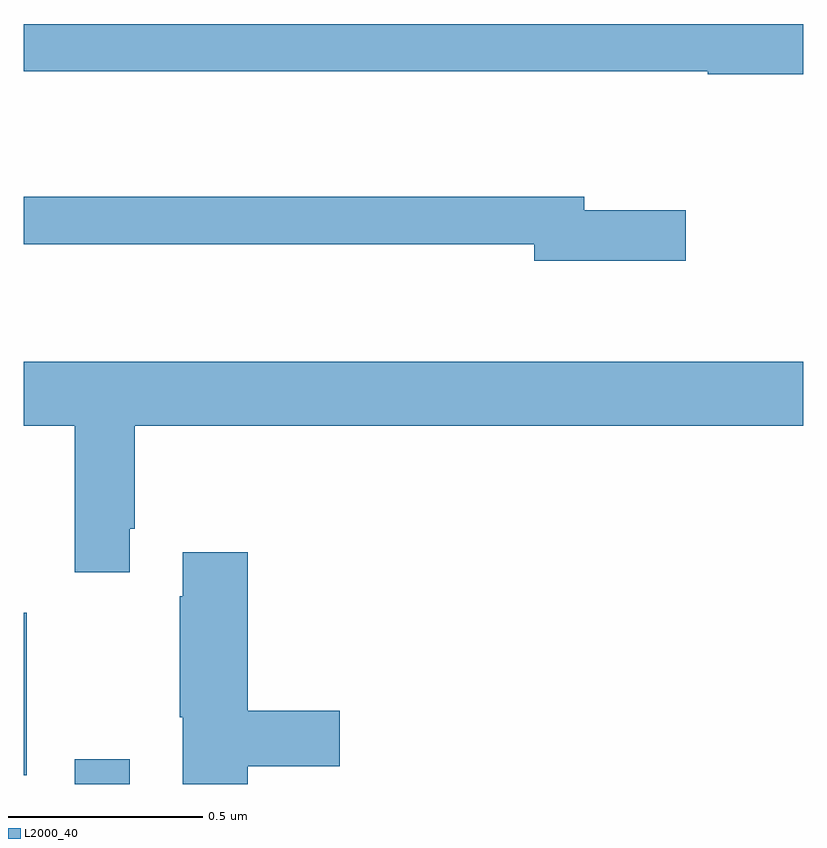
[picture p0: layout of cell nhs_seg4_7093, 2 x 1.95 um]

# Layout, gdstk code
import gdstk
lib = gdstk.Library(unit=1e-6, precision=1e-09)
def R(c, l, rs):  # rectangles x0, y0, x1, y1
    for r in rs: c.add(gdstk.rectangle(r[:2], r[2:], *l))
def P(c, l, *ps):  # polygons
    for p in ps: c.add(gdstk.Polygon(p, *l))
L2000_40 = (2000, 40)

nhs_seg4_7093 = lib.new_cell('nhs_seg4_7093')
R(nhs_seg4_7093, L2000_40, [(198.131,795.9,198.271,795.964), (198,795.923,198.007,796.339)])
P(nhs_seg4_7093, L2000_40, [(200,797.851),(198,797.851),(198,797.73),(199.755,797.73),(199.755,797.722),(200,797.722)],
  [(199.699,797.373),(199.438,797.373),(199.438,797.407),(198,797.407),(198,797.286),(199.31,797.286),(199.31,797.243),(199.699,797.243)],
  [(198.271,796.555),(198.284,796.555),(198.284,796.82),(200,796.82),(200,796.984),(198,796.984),(198,796.82),(198.131,796.82),(198.131,796.443),(198.271,796.443)],
  [(198.575,795.946),(198.811,795.946),(198.811,796.088),(198.575,796.088),(198.575,796.495),(198.407,796.495),(198.407,796.382),(198.4,796.382),(198.4,796.071),(198.407,796.071),(198.407,795.9),(198.575,795.9)])

lib.write_gds('nhs_seg4_7093.gds')
